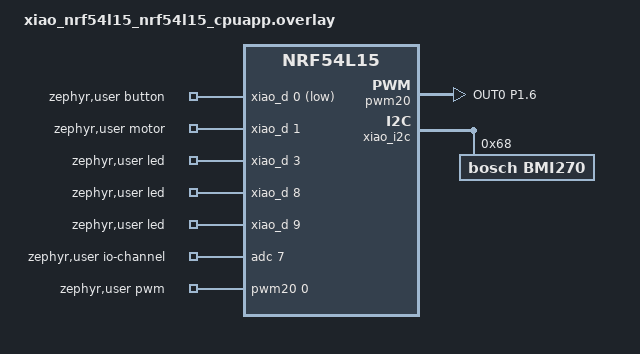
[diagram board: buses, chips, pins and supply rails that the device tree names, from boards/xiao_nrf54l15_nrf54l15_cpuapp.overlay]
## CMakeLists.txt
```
cmake_minimum_required(VERSION 3.20.0)
find_package(Zephyr REQUIRED HINTS $ENV{ZEPHYR_BASE})
project(loomcare_pendant)

target_sources(app PRIVATE src/main.c src/detector.cpp)
target_include_directories(app PRIVATE src ../pendant/include)
```

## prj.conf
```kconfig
CONFIG_CPP=y
CONFIG_STD_CPP17=y
CONFIG_REQUIRES_FULL_LIBCPP=y
CONFIG_FPU=y

CONFIG_GPIO=y
CONFIG_I2C=y
CONFIG_SENSOR=y
CONFIG_PWM=y
CONFIG_ADC=y
CONFIG_REGULATOR=y
CONFIG_JSON_LIBRARY=y

CONFIG_MAIN_STACK_SIZE=4096
CONFIG_SYSTEM_WORKQUEUE_STACK_SIZE=2048

CONFIG_BT=y
CONFIG_BT_PERIPHERAL=y
CONFIG_BT_DEVICE_NAME="LOOMCARE Pendant"
CONFIG_BT_MAX_CONN=2
CONFIG_BT_MAX_PAIRED=4
CONFIG_BT_SMP=y
CONFIG_BT_SMP_SC_ONLY=y
CONFIG_BT_APP_PASSKEY=y
CONFIG_BT_SETTINGS=y

CONFIG_FLASH=y
CONFIG_FLASH_MAP=y
CONFIG_ZMS=y
CONFIG_SETTINGS=y
CONFIG_SETTINGS_ZMS=y

CONFIG_CONSOLE_SUBSYS=y
CONFIG_CONSOLE_GETCHAR=y
```

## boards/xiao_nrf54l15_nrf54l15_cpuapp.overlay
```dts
#include <zephyr/dt-bindings/pwm/pwm.h>

/ {
	zephyr,user {
		button-gpios = <&xiao_d 0 (GPIO_PULL_UP | GPIO_ACTIVE_LOW)>;
		motor-gpios = <&xiao_d 1 GPIO_ACTIVE_HIGH>;
		led-gpios = <&xiao_d 3 GPIO_ACTIVE_HIGH>,
			    <&xiao_d 8 GPIO_ACTIVE_HIGH>,
			    <&xiao_d 9 GPIO_ACTIVE_HIGH>;
		pwms = <&pwm20 0 PWM_USEC(370) PWM_POLARITY_NORMAL>;
		io-channels = <&adc 7>;
	};

	aliases {
		/delete-property/ imu0;
		imu0 = &bmi270;
	};
};

&pinctrl {
	loom_pwm_default: loom_pwm_default {
		group1 {
			psels = <NRF_PSEL(PWM_OUT0, 1, 6)>;
		};
	};

	loom_pwm_sleep: loom_pwm_sleep {
		group1 {
			psels = <NRF_PSEL(PWM_OUT0, 1, 6)>;
			low-power-enable;
		};
	};
};

&pwm20 {
	status = "okay";
	pinctrl-0 = <&loom_pwm_default>;
	pinctrl-1 = <&loom_pwm_sleep>;
	pinctrl-names = "default", "sleep";
};

&xiao_i2c {
	status = "okay";

	bmi270: bmi270@68 {
		compatible = "bosch,bmi270";
		reg = <0x68>;
	};
};

&lsm6ds3tr_c {
	status = "disabled";
};

&i2c30 {
	status = "disabled";
};

&pdm20 {
	status = "disabled";
};
```

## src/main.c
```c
#include <stdio.h>
#include <stdlib.h>
#include <string.h>

#include <zephyr/kernel.h>
#include <zephyr/device.h>
#include <zephyr/drivers/adc.h>
#include <zephyr/drivers/gpio.h>
#include <zephyr/drivers/pwm.h>
#include <zephyr/drivers/regulator.h>
#include <zephyr/drivers/sensor.h>
#include <zephyr/bluetooth/bluetooth.h>
#include <zephyr/bluetooth/conn.h>
#include <zephyr/bluetooth/gatt.h>
#include <zephyr/bluetooth/uuid.h>
#include <zephyr/console/console.h>
#include <zephyr/data/json.h>
#include <zephyr/settings/settings.h>
#include <zephyr/sys/printk.h>

#include "detector.h"

#define FIRMWARE "xiao-nrf54l15/1.0"
#define OFFSET 19800
#define STATE_MAGIC 0x4c433534u
#define MAX_EVENTS 32
#define MAX_REMINDERS 8
#define MAX_PROMPTS 9
#define FRAME 192
#define TICK_MS 20

#define USER DT_PATH(zephyr_user)
static const struct gpio_dt_spec button = GPIO_DT_SPEC_GET(USER, button_gpios);
static const struct gpio_dt_spec motor = GPIO_DT_SPEC_GET(USER, motor_gpios);
static const struct gpio_dt_spec leds[3] = {
	GPIO_DT_SPEC_GET_BY_IDX(USER, led_gpios, 0),
	GPIO_DT_SPEC_GET_BY_IDX(USER, led_gpios, 1),
	GPIO_DT_SPEC_GET_BY_IDX(USER, led_gpios, 2),
};
static const struct pwm_dt_spec buzzer = PWM_DT_SPEC_GET(USER);
static const struct adc_dt_spec vbat_adc = ADC_DT_SPEC_GET(USER);
static const struct device *const vbat_switch = DEVICE_DT_GET(DT_NODELABEL(vbat_pwr));
static const struct device *const imu = DEVICE_DT_GET(DT_ALIAS(imu0));

enum { RED, GREEN, BLUE };

struct stored_event {
	char id[12];
	char kind[16];
	char ref[40];
	uint32_t at;
};

struct reminder {
	char id[33];
	uint16_t minute;
	uint8_t enabled;
	uint32_t fired_day;
};

struct prompt {
	char ref[40];
	uint32_t expires;
	uint8_t checkin;
};

static struct {
	uint32_t magic, next_id, overflow;
	uint8_t count;
	struct stored_event items[MAX_EVENTS];
} queue;

static struct {
	uint32_t magic;
	uint8_t reminder_count, prompt_count, fall_pending;
	struct reminder reminders[MAX_REMINDERS];
	struct prompt prompts[MAX_PROMPTS];
	char last_command[33];
	uint32_t fall_deadline;
} plan;

static uint32_t passkey;
static int64_t epoch_base, uptime_base;
static bool sensor_ok, subscribed, warning_active, gyro_on, overflow_noted;
static int64_t warning_started, last_event_frame, last_status, last_battery, fast_adv_until, gyro_until;
static int battery_percent = -1;
static atomic_t connections;

struct line {
	char text[FRAME];
	uint16_t len;
};
K_MSGQ_DEFINE(rx_queue, sizeof(struct line), 16, 4);
K_MSGQ_DEFINE(tx_queue, sizeof(struct line), 8, 4);
static struct line rx_partial[CONFIG_BT_MAX_CONN];
static bool rx_discard[CONFIG_BT_MAX_CONN];

static struct reminder staging[MAX_REMINDERS];
static uint8_t staging_count, expected_count;
static bool staging_valid;
static char staging_version[20];

static void save_queue(void) { settings_save_one("loom/q", &queue, sizeof(queue)); }
static void save_plan(void) { settings_save_one("loom/p", &plan, sizeof(plan)); }

static uint32_t epoch_now(void)
{
	return epoch_base ? (uint32_t)(epoch_base + (k_uptime_get() - uptime_base) / 1000) : 0;
}

static int loom_set(const char *key, size_t len, settings_read_cb read_cb, void *cb_arg)
{
	if (!strcmp(key, "q") && len == sizeof(queue)) {
		read_cb(cb_arg, &queue, sizeof(queue));
	} else if (!strcmp(key, "p") && len == sizeof(plan)) {
		read_cb(cb_arg, &plan, sizeof(plan));
	} else if (!strcmp(key, "pin") && len == sizeof(passkey)) {
		read_cb(cb_arg, &passkey, sizeof(passkey));
	}
	return 0;
}

SETTINGS_STATIC_HANDLER_DEFINE(loom, "loom", NULL, loom_set, NULL, NULL);

static void send_frame(const char *text)
{
	struct line frame = {0};
	int len = snprintf(frame.text, sizeof(frame.text) - 1, "%s\n", text);

	if (!subscribed || len <= 1 || len >= (int)sizeof(frame.text) - 1) {
		return;
	}
	frame.len = len;
	k_msgq_put(&tx_queue, &frame, K_NO_WAIT);
}

static void receipt(const char *kind, const char *ref)
{
	char text[96];

	snprintf(text, sizeof(text), "{\"kind\":\"%s\",\"ref\":\"%s\"}", kind, ref);
	send_frame(text);
}

static bool emit(const char *kind, const char *ref)
{
	if (queue.count >= MAX_EVENTS) {
		if (!overflow_noted) {
			queue.overflow++;
			save_queue();
			overflow_noted = true;
		}
		return false;
	}
	overflow_noted = false;
	struct stored_event *event = &queue.items[queue.count++];

	snprintf(event->id, sizeof(event->id), "%u", queue.next_id++);
	strncpy(event->kind, kind, sizeof(event->kind) - 1);
	strncpy(event->ref, ref ? ref : "", sizeof(event->ref) - 1);
	event->at = epoch_now();
	save_queue();
	last_event_frame = 0;
	return true;
}

static void drop_prompt(int index)
{
	memmove(&plan.prompts[index], &plan.prompts[index + 1], (plan.prompt_count - index - 1) * sizeof(struct prompt));
	plan.prompt_count--;
}

struct command {
	const char *op, *id, *ref, *version;
	int64_t epoch, expires;
	int32_t minute, count;
	bool enabled;
};

static const struct json_obj_descr command_descr[] = {
	JSON_OBJ_DESCR_PRIM(struct command, op, JSON_TOK_STRING),
	JSON_OBJ_DESCR_PRIM(struct command, id, JSON_TOK_STRING),
	JSON_OBJ_DESCR_PRIM(struct command, ref, JSON_TOK_STRING),
	JSON_OBJ_DESCR_PRIM(struct command, version, JSON_TOK_STRING),
	JSON_OBJ_DESCR_PRIM(struct command, epoch, JSON_TOK_INT64),
	JSON_OBJ_DESCR_PRIM(struct command, expires, JSON_TOK_INT64),
	JSON_OBJ_DESCR_PRIM(struct command, minute, JSON_TOK_NUMBER),
	JSON_OBJ_DESCR_PRIM(struct command, count, JSON_TOK_NUMBER),
	JSON_OBJ_DESCR_PRIM(struct command, enabled, JSON_TOK_TRUE),
};
enum { F_OP, F_ID, F_REF, F_VERSION, F_EPOCH, F_EXPIRES, F_MINUTE, F_COUNT, F_ENABLED };
#define HAS(mask, field) ((mask) & BIT(field))

static void process_command(struct line *line)
{
	struct command cmd = {0};
	int64_t found = json_obj_parse(line->text, line->len, command_descr, ARRAY_SIZE(command_descr), &cmd);

	if (found < 0 || !HAS(found, F_OP)) {
		return;
	}
	if (!strcmp(cmd.op, "ack") && HAS(found, F_ID)) {
		if (queue.count && !strcmp(queue.items[0].id, cmd.id)) {
			memmove(&queue.items[0], &queue.items[1], (--queue.count) * sizeof(struct stored_event));
			save_queue();
			last_event_frame = 0;
		}
	} else if (!strcmp(cmd.op, "time") && HAS(found, F_EPOCH) && cmd.epoch > 1704067200LL && cmd.epoch < 4102444799LL) {
		epoch_base = cmd.epoch;
		uptime_base = k_uptime_get();
	} else if (!strcmp(cmd.op, "begin")) {
		staging_valid = HAS(found, F_COUNT) && HAS(found, F_VERSION) && cmd.count >= 0 && cmd.count <= MAX_REMINDERS && strlen(cmd.version) < sizeof(staging_version);
		expected_count = staging_valid ? cmd.count : 0;
		staging_count = 0;
		if (staging_valid) {
			strcpy(staging_version, cmd.version);
		}
	} else if (!strcmp(cmd.op, "reminder")) {
		if (!staging_valid || staging_count >= expected_count || !HAS(found, F_ID) || strlen(cmd.id) != 32 || !HAS(found, F_MINUTE) || cmd.minute < 0 || cmd.minute > 1439 || !HAS(found, F_ENABLED)) {
			staging_valid = false;
			return;
		}
		for (int i = 0; i < staging_count; i++) {
			if (!strcmp(staging[i].id, cmd.id)) {
				staging_valid = false;
				return;
			}
		}
		struct reminder *r = &staging[staging_count++];

		memset(r, 0, sizeof(*r));
		strcpy(r->id, cmd.id);
		r->minute = cmd.minute;
		r->enabled = cmd.enabled;
		for (int i = 0; i < plan.reminder_count; i++) {
			if (!strcmp(plan.reminders[i].id, cmd.id)) {
				r->fired_day = plan.reminders[i].fired_day;
			}
		}
	} else if (!strcmp(cmd.op, "commit")) {
		if (!staging_valid || staging_count != expected_count) {
			return;
		}
		memcpy(plan.reminders, staging, staging_count * sizeof(struct reminder));
		plan.reminder_count = staging_count;
		for (int i = 0; i < plan.prompt_count;) {
			bool keep = plan.prompts[i].checkin;

			for (int j = 0; j < plan.reminder_count && !keep; j++) {
				keep = plan.reminders[j].enabled && !strncmp(plan.prompts[i].ref, plan.reminders[j].id, 32);
			}
			if (keep) {
				i++;
			} else {
				drop_prompt(i);
			}
		}
		save_plan();
		staging_valid = false;
		receipt("config_received", staging_version);
	} else if (!strcmp(cmd.op, "checkin") && HAS(found, F_ID) && HAS(found, F_REF) && HAS(found, F_EXPIRES)) {
		uint32_t now = epoch_now();

		if (strlen(cmd.id) != 32 || strlen(cmd.ref) != 32 || !now || cmd.expires <= now || cmd.expires > now + 180) {
			return;
		}
		if (!strcmp(cmd.id, plan.last_command)) {
			receipt("receipt", cmd.id);
			return;
		}
		if (plan.prompt_count >= MAX_PROMPTS) {
			return;
		}
		struct prompt *p = &plan.prompts[plan.prompt_count++];

		strcpy(p->ref, cmd.ref);
		p->expires = cmd.expires;
		p->checkin = 1;
		strcpy(plan.last_command, cmd.id);
		save_plan();
		receipt("receipt", cmd.id);
	}
}

static ssize_t read_tx(struct bt_conn *conn, const struct bt_gatt_attr *attr, void *buf, uint16_t len, uint16_t offset)
{
	return bt_gatt_attr_read(conn, attr, buf, len, offset, "", 0);
}

static ssize_t write_rx(struct bt_conn *conn, const struct bt_gatt_attr *attr, const void *buf, uint16_t len, uint16_t offset, uint8_t flags)
{
	uint8_t index = bt_conn_index(conn);
	struct line *partial = &rx_partial[index];
	const char *bytes = buf;

	for (uint16_t i = 0; i < len; i++) {
		if (bytes[i] == '\n') {
			if (!rx_discard[index] && partial->len) {
				partial->text[partial->len] = '\0';
				k_msgq_put(&rx_queue, partial, K_NO_WAIT);
			}
			partial->len = 0;
			rx_discard[index] = false;
		} else if (partial->len < FRAME - 2 && !rx_discard[index]) {
			partial->text[partial->len++] = bytes[i];
		} else {
			rx_discard[index] = true;
			partial->len = 0;
		}
	}
	return len;
}

static void tx_ccc_changed(const struct bt_gatt_attr *attr, uint16_t value)
{
	subscribed = value == BT_GATT_CCC_NOTIFY;
	if (!subscribed) {
		k_msgq_purge(&tx_queue);
	}
}

#define SERVICE_UUID BT_UUID_128_ENCODE(0x8be12000, 0x7e34, 0x4b80, 0x8fd8, 0x7277a721e9bc)
static const struct bt_uuid_128 service_uuid = BT_UUID_INIT_128(SERVICE_UUID);
static const struct bt_uuid_128 tx_uuid = BT_UUID_INIT_128(BT_UUID_128_ENCODE(0x8be12001, 0x7e34, 0x4b80, 0x8fd8, 0x7277a721e9bc));
static const struct bt_uuid_128 rx_uuid = BT_UUID_INIT_128(BT_UUID_128_ENCODE(0x8be12002, 0x7e34, 0x4b80, 0x8fd8, 0x7277a721e9bc));

BT_GATT_SERVICE_DEFINE(loom_service,
	BT_GATT_PRIMARY_SERVICE(&service_uuid),
	BT_GATT_CHARACTERISTIC(&tx_uuid.uuid, BT_GATT_CHRC_NOTIFY | BT_GATT_CHRC_READ, BT_GATT_PERM_READ_AUTHEN, read_tx, NULL, NULL),
	BT_GATT_CCC(tx_ccc_changed, BT_GATT_PERM_READ_AUTHEN | BT_GATT_PERM_WRITE_AUTHEN),
	BT_GATT_CHARACTERISTIC(&rx_uuid.uuid, BT_GATT_CHRC_WRITE, BT_GATT_PERM_WRITE_AUTHEN, NULL, write_rx, NULL),
);

static const struct bt_data advertising[] = {
	BT_DATA_BYTES(BT_DATA_FLAGS, BT_LE_AD_GENERAL | BT_LE_AD_NO_BREDR),
	BT_DATA_BYTES(BT_DATA_UUID128_ALL, SERVICE_UUID),
};
static const struct bt_data scan_response[] = {
	BT_DATA(BT_DATA_NAME_COMPLETE, CONFIG_BT_DEVICE_NAME, sizeof(CONFIG_BT_DEVICE_NAME) - 1),
};

static void advertise(struct k_work *work)
{
	bool fast = k_uptime_get() < fast_adv_until;
	struct bt_le_adv_param param = BT_LE_ADV_PARAM_INIT(BT_LE_ADV_OPT_CONN, fast ? BT_GAP_ADV_FAST_INT_MIN_2 : 1600, fast ? BT_GAP_ADV_FAST_INT_MAX_2 : 1760, NULL);

	bt_le_adv_stop();
	if (atomic_get(&connections) < CONFIG_BT_MAX_CONN) {
		bt_le_adv_start(&param, advertising, ARRAY_SIZE(advertising), scan_response, ARRAY_SIZE(scan_response));
	}
}
K_WORK_DEFINE(advertise_work, advertise);
K_WORK_DELAYABLE_DEFINE(slow_adv_work, advertise);

static void advertise_fast(void)
{
	fast_adv_until = k_uptime_get() + 30000;
	k_work_submit(&advertise_work);
	k_work_reschedule(&slow_adv_work, K_SECONDS(31));
}

static void connected(struct bt_conn *conn, uint8_t err)
{
	if (err) {
		return;
	}
	atomic_inc(&connections);
	bt_conn_set_security(conn, BT_SECURITY_L4);
	k_work_submit(&advertise_work);
}

static void disconnected(struct bt_conn *conn, uint8_t reason)
{
	atomic_dec(&connections);
	rx_partial[bt_conn_index(conn)].len = 0;
}

static void recycled(void)
{
	k_work_submit(&advertise_work);
}

static void security_changed(struct bt_conn *conn, bt_security_t level, enum bt_security_err err)
{
	if (!err && level >= BT_SECURITY_L4) {
		struct bt_le_conn_param param = BT_LE_CONN_PARAM_INIT(720, 800, 0, 600);

		bt_conn_le_param_update(conn, &param);
		last_status = 0;
	} else if (err) {
		bt_conn_disconnect(conn, BT_HCI_ERR_AUTH_FAIL);
	}
}

BT_CONN_CB_DEFINE(connection_callbacks) = {
	.connected = connected,
	.disconnected = disconnected,
	.recycled = recycled,
	.security_changed = security_changed,
};

static void passkey_display(struct bt_conn *conn, unsigned int key) {}
static void auth_cancel(struct bt_conn *conn) {}
static uint32_t app_passkey(struct bt_conn *conn) { return passkey; }

static struct bt_conn_auth_cb auth_callbacks = {
	.passkey_display = passkey_display,
	.cancel = auth_cancel,
	.app_passkey = app_passkey,
};

static void tx_thread(void)
{
	struct line frame;

	for (;;) {
		k_msgq_get(&tx_queue, &frame, K_FOREVER);
		for (uint16_t offset = 0; offset < frame.len && subscribed;) {
			uint16_t chunk = MIN(20, frame.len - offset);

			if (bt_gatt_notify(NULL, &loom_service.attrs[1], frame.text + offset, chunk) == 0) {
				offset += chunk;
			}
			k_sleep(K_MSEC(12));
		}
	}
}
K_THREAD_DEFINE(tx_tid, 1536, tx_thread, NULL, NULL, NULL, 7, 0, 0);

static void provision_pin(void)
{
	char digits[7];
	uint8_t length = 0;
	bool invalid = false;

	console_init();
	printk("Setup required: enter a private 6-digit BLE PIN (100000-999999), then Enter. Input is not echoed. Monitoring starts after setup.\n");
	while (!passkey) {
		int c = console_getchar();

		if (c == '\r' || c == '\n') {
			if (!invalid && length == 6) {
				digits[6] = '\0';
				uint32_t candidate = strtoul(digits, NULL, 10);

				if (candidate >= 100000 && candidate <= 999999 && settings_save_one("loom/pin", &candidate, sizeof(candidate)) == 0) {
					passkey = candidate;
				}
			}
			if (!passkey && length) {
				printk("PIN not saved; retry six digits. Do not share this PIN.\n");
			}
			length = 0;
			invalid = false;
			memset(digits, 0, sizeof(digits));
		} else if (c >= '0' && c <= '9' && length < 6) {
			digits[length++] = (char)c;
		} else {
			invalid = true;
		}
	}
	printk("BLE provisioning complete. The PIN will not be displayed or logged.\n");
}

static void configure_imu(void)
{
	struct sensor_value accel_range = {16, 0}, gyro_range = {500, 0}, odr = {50, 0}, off = {0, 0};

	sensor_ok = device_is_ready(imu) &&
		    !sensor_attr_set(imu, SENSOR_CHAN_ACCEL_XYZ, SENSOR_ATTR_FULL_SCALE, &accel_range) &&
		    !sensor_attr_set(imu, SENSOR_CHAN_ACCEL_XYZ, SENSOR_ATTR_SAMPLING_FREQUENCY, &odr) &&
		    !sensor_attr_set(imu, SENSOR_CHAN_GYRO_XYZ, SENSOR_ATTR_FULL_SCALE, &gyro_range) &&
		    !sensor_attr_set(imu, SENSOR_CHAN_GYRO_XYZ, SENSOR_ATTR_SAMPLING_FREQUENCY, &off);
	gyro_on = false;
}

static void set_gyro(bool on)
{
	struct sensor_value odr = {on ? 50 : 0, 0};

	if (on != gyro_on && !sensor_attr_set(imu, SENSOR_CHAN_GYRO_XYZ, SENSOR_ATTR_SAMPLING_FREQUENCY, &odr)) {
		gyro_on = on;
	}
}

static void start_warning(int64_t now)
{
	warning_active = true;
	warning_started = now;
	plan.fall_pending = 1;
	plan.fall_deadline = epoch_now() ? epoch_now() + 15 : 0;
	save_plan();
	receipt("local_warning", "15");
	advertise_fast();
}

static void sample_motion(int64_t now)
{
	struct sensor_value accel[3], gyro[3] = {0};

	if (!device_is_ready(imu) || sensor_sample_fetch(imu) || sensor_channel_get(imu, SENSOR_CHAN_ACCEL_XYZ, accel) ||
	    (gyro_on && sensor_channel_get(imu, SENSOR_CHAN_GYRO_XYZ, gyro))) {
		if (sensor_ok) {
			emit("device_fault", NULL);
		}
		sensor_ok = false;
		return;
	}
	if (!sensor_ok) {
		configure_imu();
		return;
	}
	float ax = sensor_value_to_float(&accel[0]) / 9.80665f, ay = sensor_value_to_float(&accel[1]) / 9.80665f, az = sensor_value_to_float(&accel[2]) / 9.80665f;
	float magnitude = ax * ax + ay * ay + az * az;

	if (magnitude < 0.6f * 0.6f || magnitude > 1.8f * 1.8f) {
		gyro_until = now + 6000;
	}
	set_gyro(now < gyro_until);
	if (!warning_active && loom_detector_update(ax, ay, az, sensor_value_to_float(&gyro[0]) * 57.29578f, sensor_value_to_float(&gyro[1]) * 57.29578f,
						     sensor_value_to_float(&gyro[2]) * 57.29578f, (uint32_t)now)) {
		start_warning(now);
	}
}

static void button_tick(int64_t now)
{
	static bool raw_last, down, held;
	static int64_t changed_at, down_at;
	bool raw = gpio_pin_get_dt(&button) == 1;

	if (raw != raw_last) {
		raw_last = raw;
		changed_at = now;
	}
	if (now - changed_at >= 35 && down != raw) {
		down = raw;
		if (down) {
			down_at = now;
			held = false;
		} else if (!held) {
			if (warning_active) {
				if (emit("fall_cancelled", NULL)) {
					warning_active = false;
					plan.fall_pending = 0;
					save_plan();
				}
			} else if (plan.prompt_count) {
				int index = 0;

				for (int i = 0; i < plan.prompt_count; i++) {
					if (plan.prompts[i].checkin) {
						index = i;
						break;
					}
				}
				if (emit(plan.prompts[index].checkin ? "checkin_ack" : "reminder_ack", plan.prompts[index].ref)) {
					drop_prompt(index);
					save_plan();
				}
			}
		}
	}
	if (down && !held && now - down_at >= 2000) {
		held = true;
		if (emit("sos", NULL)) {
			warning_active = false;
			plan.fall_pending = 0;
			save_plan();
			advertise_fast();
		}
	}
}

static void reminder_tick(void)
{
	uint32_t now = epoch_now();
	bool changed = false;

	if (!now) {
		return;
	}
	uint32_t day = (now + OFFSET) / 86400;

	for (int i = 0; i < plan.prompt_count;) {
		if (plan.prompts[i].expires <= now) {
			drop_prompt(i);
			changed = true;
		} else {
			i++;
		}
	}
	for (int i = 0; i < plan.reminder_count; i++) {
		struct reminder *r = &plan.reminders[i];
		uint32_t due = day * 86400 - OFFSET + r->minute * 60;

		if (r->enabled && r->fired_day != day && now >= due && now < due + 300 && plan.prompt_count < MAX_PROMPTS) {
			struct prompt *p = &plan.prompts[plan.prompt_count++];

			snprintf(p->ref, sizeof(p->ref), "%s:%u", r->id, day);
			p->checkin = 0;
			p->expires = due + 300;
			r->fired_day = day;
			changed = true;
		}
	}
	if (changed) {
		save_plan();
	}
}

static void read_battery(void)
{
	int16_t raw = 0;
	int32_t millivolts;
	struct adc_sequence sequence = {.buffer = &raw, .buffer_size = sizeof(raw)};

	battery_percent = -1;
	if (!adc_is_ready_dt(&vbat_adc) || adc_channel_setup_dt(&vbat_adc) || adc_sequence_init_dt(&vbat_adc, &sequence)) {
		return;
	}
	if (device_is_ready(vbat_switch)) {
		regulator_enable(vbat_switch);
		k_msleep(5);
	}
	int err = adc_read_dt(&vbat_adc, &sequence);

	if (device_is_ready(vbat_switch)) {
		regulator_disable(vbat_switch);
	}
	millivolts = raw;
	if (err || adc_raw_to_millivolts_dt(&vbat_adc, &millivolts)) {
		return;
	}
	millivolts *= 2;
	if (millivolts > 2800 && millivolts < 4400) {
		battery_percent = CLAMP((millivolts - 3300) * 100 / 900, 0, 100);
	}
}

static void send_status(void)
{
	char text[FRAME - 8], battery[8];

	snprintf(battery, sizeof(battery), battery_percent < 0 ? "null" : "%d", battery_percent);
	snprintf(text, sizeof(text), "{\"kind\":\"status\",\"firmware\":\"" FIRMWARE "\",\"sensor_ok\":%s,\"clock_ok\":%s,\"queue_overflow\":%u,\"battery\":%s,\"charging\":null}",
		 sensor_ok ? "true" : "false", epoch_now() ? "true" : "false", queue.overflow, battery);
	send_frame(text);
}

static void send_oldest_event(void)
{
	const struct stored_event *e = &queue.items[0];
	char text[FRAME - 8];

	if (e->ref[0]) {
		snprintf(text, sizeof(text), "{\"id\":\"%s\",\"kind\":\"%s\",\"at\":%u,\"ref\":\"%s\"}", e->id, e->kind, e->at, e->ref);
	} else {
		snprintf(text, sizeof(text), "{\"id\":\"%s\",\"kind\":\"%s\",\"at\":%u}", e->id, e->kind, e->at);
	}
	send_frame(text);
}

static void outputs(int64_t now)
{
	static int last_tone = -1;
	bool prompt = warning_active || plan.prompt_count > 0;
	bool pulse = prompt && (now % (warning_active ? 800 : 2000)) < 250;
	bool fault = !sensor_ok || !epoch_now() || queue.overflow;
	bool linked = atomic_get(&connections) > 0 && subscribed;

	gpio_pin_set_dt(&motor, pulse);
	if (pulse != last_tone && device_is_ready(buzzer.dev)) {
		pwm_set_pulse_dt(&buzzer, pulse ? buzzer.period / 2 : 0);
		last_tone = pulse;
	}
	gpio_pin_set_dt(&leds[RED], fault && now % 3000 < 30);
	gpio_pin_set_dt(&leds[GREEN], !fault && linked && now % 5000 < 20);
	gpio_pin_set_dt(&leds[BLUE], !fault && !linked && now % 3000 < 20);
}

static void configure_outputs(void)
{
	gpio_pin_configure_dt(&button, GPIO_INPUT);
	gpio_pin_configure_dt(&motor, GPIO_OUTPUT_INACTIVE);
	for (int i = 0; i < 3; i++) {
		gpio_pin_configure_dt(&leds[i], GPIO_OUTPUT_INACTIVE);
	}
}

int main(void)
{
	configure_outputs();
	settings_subsys_init();
	bt_conn_auth_cb_register(&auth_callbacks);
	if (bt_enable(NULL)) {
		printk("Bluetooth failed to start\n");
	}
	settings_load();
	if (queue.magic != STATE_MAGIC || queue.count > MAX_EVENTS) {
		memset(&queue, 0, sizeof(queue));
		queue.magic = STATE_MAGIC;
		queue.next_id = 1;
		save_queue();
	}
	if (plan.magic != STATE_MAGIC || plan.reminder_count > MAX_REMINDERS || plan.prompt_count > MAX_PROMPTS) {
		memset(&plan, 0, sizeof(plan));
		plan.magic = STATE_MAGIC;
		save_plan();
	}
	if (passkey < 100000 || passkey > 999999) {
		passkey = 0;
		provision_pin();
	}
	configure_imu();
	if (!sensor_ok) {
		emit("device_fault", NULL);
	}
	if (plan.fall_pending) {
		warning_active = true;
		warning_started = k_uptime_get();
	}
	printk("LOOMCARE %s ready. Motion sensor: %s\n", FIRMWARE, sensor_ok ? "ready" : "FAULT");
	advertise_fast();

	int64_t next = k_uptime_get();

	for (;;) {
		int64_t now = k_uptime_get();
		struct line command;

		while (k_msgq_get(&rx_queue, &command, K_NO_WAIT) == 0) {
			process_command(&command);
		}
		sample_motion(now);
		button_tick(now);
		if (warning_active && now - warning_started >= 15000 && emit("fall", NULL)) {
			warning_active = false;
			plan.fall_pending = 0;
			save_plan();
		}
		if (now % 1000 < TICK_MS) {
			reminder_tick();
		}
		if (now - last_battery >= 60000 || !last_battery) {
			last_battery = now;
			read_battery();
		}
		if (subscribed && now - last_status >= 10000) {
			last_status = now;
			send_status();
		}
		if (subscribed && queue.count && now - last_event_frame >= 3000) {
			last_event_frame = now;
			send_oldest_event();
		}
		outputs(now);
		next += TICK_MS;
		if (next < k_uptime_get()) {
			next = k_uptime_get();
		}
		k_sleep(K_TIMEOUT_ABS_MS(next));
	}
	return 0;
}
```

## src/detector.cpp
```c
#include "detector.h"
#include "fall_detector.h"

static FallDetector detector;

extern "C" bool loom_detector_update(float ax, float ay, float az, float gx, float gy, float gz, uint32_t now_ms)
{
	return detector.update(ax, ay, az, gx, gy, gz, now_ms);
}
```

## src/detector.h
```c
#pragma once
#include <stdbool.h>
#include <stdint.h>

#ifdef __cplusplus
extern "C" {
#endif

bool loom_detector_update(float ax, float ay, float az, float gx, float gy, float gz, uint32_t now_ms);

#ifdef __cplusplus
}
#endif
```
